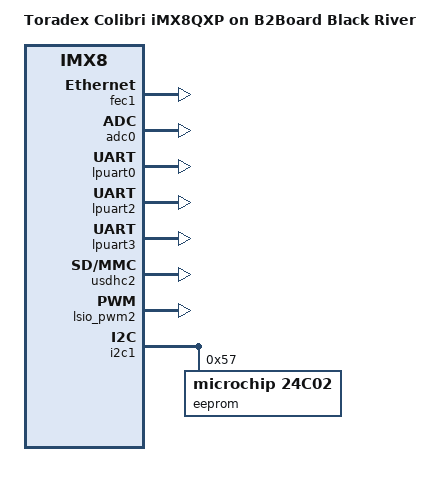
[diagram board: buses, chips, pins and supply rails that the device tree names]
// SPDX-License-Identifier: GPL-2.0-or-later OR MIT
/*
 * Copyright 2019 Toradex
 */

/dts-v1/;

#include "imx8qxp-colibri.dtsi"
#include "imx8x-colibri-eval-v3.dtsi"

/ {
	model = "Toradex Colibri iMX8QXP on B2Board Black River";
	compatible = "toradex,colibri-imx8x-eval-v3",
                     "toradex,colibri-imx8x", "fsl,imx8qxp", "toradex,imx8-b2b-black-river";

    /*
    dht11: dht11 {
        compatible = "dht11";
        
        pinctrl-names = "default";
        pinctrl-0 = <&pinctrl_dht11>;
        gpios = <&lsio_gpio1 2 GPIO_ACTIVE_HIGH>;
        status = "okay";
    };
    */

    /*
    rich_shield_buttons {
        compatible = "gpio-keys";
        pinctrl-names = "default";
        pinctrl-0 = <&pinctrl_keys_shield>;

        button-0 {
            label = "Tecla KEY0";
            gpios = <&lsio_gpio1 17 GPIO_ACTIVE_LOW>;
            linux,code = <KEY_RIGHT>;
        };

        button-1 {
            label = "Tecla KEY1";
            gpios = <&lsio_gpio1 7 GPIO_ACTIVE_LOW>;
            linux,code = <KEY_LEFT>;
        };
    };
    */

};

/* Colibri Ethernet */
&fec1 {
    status = "okay";
};

/* Colibri Analogue Inputs- KNOB, LDR e NTC */
&adc0 {
    status = "okay";
};

/* Colibri UART_B */
&lpuart0 {
    status = "okay";
};

/* Colibri UART_C */
&lpuart2 {
    status = "okay";
};

/* Colibri UART_A */
&lpuart3 {
    status= "okay";
};

/* Colibri SDCard */
&usdhc2 {
    status = "okay";
};

/* Colibri PWM_A - KEY1 */
&adma_pwm {
    status = "disabled";
};

/* Colibri PWM_B */
&lsio_pwm0 {
    /* SODIMM  28  - LED2  */
    status = "disabled";
};

/* Colibri PWM_C */
&lsio_pwm1 {
    /* SODIMM  30  - LED3  */
    status = "disabled";
};

/* Colibri PWM_D */
&lsio_pwm2 {
    /* SODIMM 67 - BUZZER */
    status = "okay";
};

&flexcan1 {
    status = "disabled";
};

&flexcan2 {
    status = "disabled";
};

&flexcan3 {
    status = "disabled";
};

/* Colibri SPI - PIN USED IN DHT11 */
&lpspi2 {
    status = "disabled";
};

&i2c1 {
    status = "okay";

    eeprom@57 {
        compatible = "microchip,24c02", "atmel,24c02";
        reg = <0x57>;
        pagesize = <8>;
        // address-width = <8>;
    };
};

&iomuxc {
    pinctrl-names = "default";
    pinctrl-0 = <&pinctrl_ext_io0>, <&pinctrl_hog0>, <&pinctrl_hog1>,
                <&pinctrl_lpspi2_cs2>, <&pinctrl_gpio_shield>;

    pinctrl_gpio_shield: gpio-shield {
    	fsl,pins = <
                IMX8QXP_USB_SS3_TC1_LSIO_GPIO4_IO04	0x20          	/* SODIMM 133 - LED1  */
                IMX8QXP_UART1_TX_LSIO_GPIO0_IO21	0x20          	/* SODIMM 28  - LED2  */
                IMX8QXP_UART1_RX_LSIO_GPIO0_IO22	0x20          	/* SODIMM 30  - LED3  */
                IMX8QXP_FLEXCAN1_TX_LSIO_GPIO1_IO18	0x20          	/* SODIMM 55  - LED4  */
                IMX8QXP_SPI0_CS1_LSIO_GPIO1_IO07	0x06000061		/* SODIMM_59  - KEY1 Pull-up 100K */
                IMX8QXP_FLEXCAN1_RX_LSIO_GPIO1_IO17	0x06000061		/* SODIMM_63  - KEY0 Pull-up 100K */
        >;
    };

    /*
    pinctrl_keys_shield: keys-shield {
        fsl,pins = <
                IMX8QXP_SPI0_CS1_LSIO_GPIO1_IO07	0x71
                IMX8QXP_FLEXCAN1_RX_LSIO_GPIO1_IO17	0x71
        >;
    };
    */

    /*
    pinctrl_dht11: dht11grp  {
    	fsl,pins = <
		        IMX8QXP_SPI2_SDI_LSIO_GPIO1_IO02	0x06000021		// SODIMM_90 - PULL-UP
	    >;
    };
    */
};
